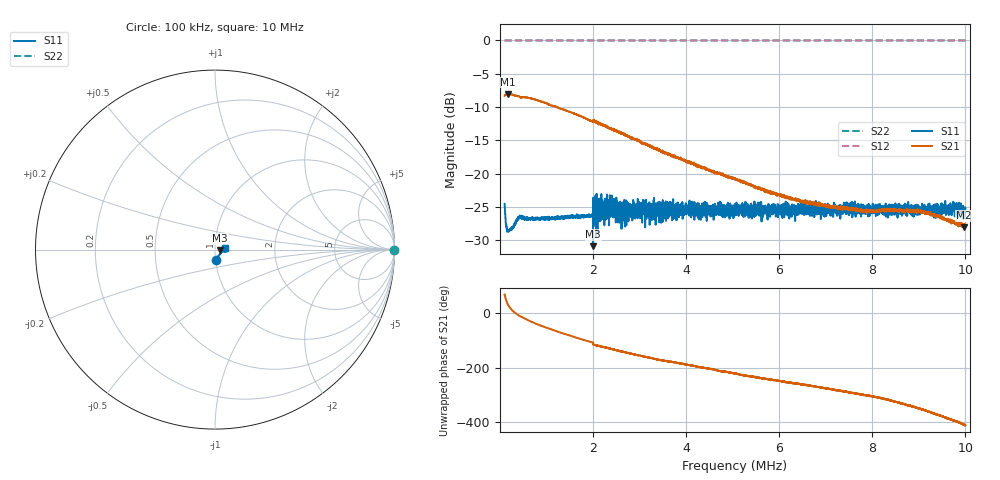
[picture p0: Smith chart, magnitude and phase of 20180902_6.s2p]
! Anritsu VNA Master:  Model: MS2026C/19
! SN:  1815009
! /card0/usr/20180902_6.s2p
! Existing Calibration Information:
! TYPE:  Current Settings,  Active Cal Settings
! TIME:  09/02/2018 12:35:41 PM,  09/02/2018 11:58:48 AM
! INTERNAL TEMP:  52.8 C,  48.8 C
! # POINTS:  4001,  4001
! START FREQ:  100.000 kHz,  100.000 kHz
! STOP FREQ:  10.000 MHz,  10.000 MHz
! SOURCE POWER:  Low,  Low
! IFBW:  500 Hz,  500 Hz
! AVG FACTOR:  5 ,  1
! REF PLANE 1:  0 mm,  0 mm
! REF PLANE 2:  0 mm,  0 mm
! CAL TYPE:  1P2P S11,S21,  1P2P S11,S21
! CAL METHOD:  SOLT,  SOLT
! CAL LINE TYPE:  Coax,  Coax
! DUT PORT 1:  N-Conn(M),  N-Conn(M)
! DUT PORT 2:  N-Conn(M),  N-Conn(M)
! CAL STATUS:  OK: Accuracy High,  --
# GHZ S RI R 50.0
! FREQ.GHZ  S11RE  S11IM  S21RE  S21IM  S12RE  S12IM  S22RE  S22IM
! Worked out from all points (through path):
!   4001 points, 100 kHz to 10 MHz, reference 50 ohm
!   highest |S21| = -8.05 dB at 179.2 kHz (marker M1); lowest = -28.1 dB at 9.968 MHz (marker M2)
!   group delay of S21, straight-line fit = 102 ns
!   lowest |S11| = -30.9 dB at 2.001 MHz (marker M3), VSWR 1.06, Z = 52.9 - j0.53 ohm
!   |S11| at or under -10 dB: start of sweep to end of sweep
!   |S22| runs from 0.0 to 0.0 dB; largest |S21 - S12| = 1.2
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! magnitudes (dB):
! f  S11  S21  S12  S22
! 100 kHz  -24.5  -8.3  0.0  0.0
! 179.2 kHz  -28.7  -8.0  0.0  0.0
! 449 kHz  -26.5  -8.6  0.0  0.0
! 1.751 MHz  -26.3  -11.4  0.0  0.0
! 1.951 MHz  -26.4  -12.1  0.0  0.0
! 2.001 MHz  -30.9  -12.0  0.0  0.0
! 2.053 MHz  -23.3  -12.2  0.0  0.0
! 2.139 MHz  -24.9  -12.6  0.0  0.0
! 2.377 MHz  -25.5  -13.3  0.0  0.0
! 2.575 MHz  -25.5  -13.8  0.0  0.0
! 2.746 MHz  -24.7  -14.4  0.0  0.0
! 3.402 MHz  -26.2  -16.3  0.0  0.0
! 3.548 MHz  -24.4  -16.9  0.0  0.0
! 3.773 MHz  -25.7  -17.5  0.0  0.0
! 5.05 MHz  -24.9  -20.7  0.0  0.0
! 5.83 MHz  -25.7  -22.8  0.0  0.0
! 6.701 MHz  -26.2  -24.3  0.0  0.0
! 7.785 MHz  -25.1  -25.5  0.0  0.0
! 8.352 MHz  -25.3  -25.4  0.0  0.0
! 9.062 MHz  -25.1  -25.7  0.0  0.0
! 9.968 MHz  -25.4  -28.1  0.0  0.0
! 10 MHz  -25.3  -27.9  0.0  0.0
